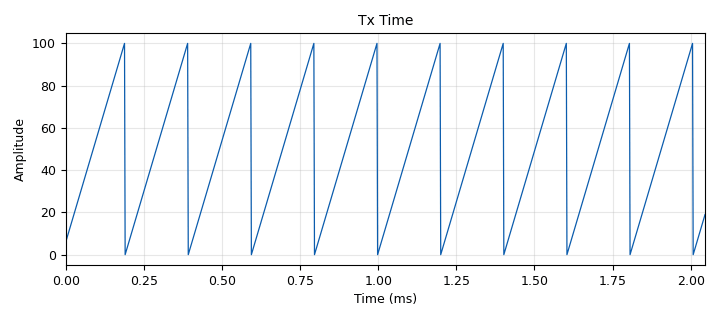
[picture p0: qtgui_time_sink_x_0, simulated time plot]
<?xml version='1.0' encoding='utf-8'?>
<?grc format='1' created='3.7.10'?>
<flow_graph>
<block>
<key>options</key>
<param><key>id</key><value>ofdm_files_tx</value></param>
<param><key>author</key><value>Samuel Rey</value></param>
<param><key>category</key><value>Custom</value></param>
<param><key>description</key><value>Simple file transmisor using OFDM</value></param>
<param><key>generate_options</key><value>qt_gui</value></param>
<param><key>title</key><value>Files Transmisor With OFDM</value></param>
</block>
<block>
<key>variable</key>
<param><key>id</key><value>cp_len</value></param>
<param><key>value</key><value>fft_len/4</value></param>
</block>
<block>
<key>variable</key>
<param><key>id</key><value>fft_len</value></param>
<param><key>value</key><value>512</value></param>
</block>
<block>
<key>variable</key>
<param><key>id</key><value>freq</value></param>
<param><key>value</key><value>2412000000</value></param>
</block>
<block>
<key>variable_qtgui_range</key>
<param><key>id</key><value>gain</value></param>
<param><key>value</key><value>50</value></param>
<param><key>label</key><value>Gain</value></param>
<param><key>orient</key><value>Qt.Horizontal</value></param>
<param><key>start</key><value>0</value></param>
<param><key>step</key><value>1</value></param>
<param><key>stop</key><value>100</value></param>
</block>
<block>
<key>variable</key>
<param><key>id</key><value>occupied_carriers</value></param>
<param><key>value</key><value>(range(-26, -21) + range(-20, -7) + range(-6, 0) + range(1, 7) + range(8, 21) + range(22, 27),)</value></param>
</block>
<block>
<key>variable</key>
<param><key>id</key><value>pilot_carriers</value></param>
<param><key>value</key><value>((-21, -7, 7, 21,),)</value></param>
</block>
<block>
<key>variable</key>
<param><key>id</key><value>pilot_symbols</value></param>
<param><key>value</key><value>((1, 1, 1, -1,),)</value></param>
</block>
<block>
<key>variable</key>
<param><key>id</key><value>samp_rate</value></param>
<param><key>value</key><value>500000</value></param>
</block>
<block>
<key>variable</key>
<param><key>id</key><value>sync_word1</value></param>
<param><key>value</key><value>[0., 0., 0., 0., 0., 0., 0., 1.41421356, 0., -1.41421356, 0., 1.41421356, 0., -1.41421356, 0., -1.41421356, 0., -1.41421356, 0., 1.41421356, 0., -1.41421356, 0., 1.41421356, 0., -1.41421356, 0., -1.41421356, 0., -1.41421356, 0., -1.41421356, 0., 1.41421356, 0., -1.41421356, 0., 1.41421356, 0., 1.41421356, 0., 1.41421356, 0., -1.41421356, 0., 1.41421356, 0., 1.41421356, 0., 1.41421356, 0., -1.41421356, 0., 1.41421356, 0., 1.41421356, 0., 1.41421356, 0., 0., 0., 0., 0., 0.]</value></param>
</block>
<block>
<key>variable</key>
<param><key>id</key><value>sync_word2</value></param>
<param><key>value</key><value>[0, 0, 0, 0, 0, 0, -1, -1, -1, -1, 1, 1, -1, -1, -1, 1, -1, 1, 1, 1, 1, 1, -1, -1, -1, -1, -1, 1, -1, -1, 1, -1, 0, 1, -1, 1, 1, 1, -1, 1, 1, 1, -1, 1, 1, 1, 1, -1, 1, -1, -1, -1, 1, -1, 1, -1, -1, -1, -1, 0, 0, 0, 0, 0] </value></param>
</block>
<block>
<key>blocks_vector_source_x</key>
<param><key>id</key><value>blocks_vector_source_x_0</value></param>
<param><key>type</key><value>float</value></param>
<param><key>repeat</key><value>True</value></param>
<param><key>vector</key><value>range(101)</value></param>
</block>
<block>
<key>digital_ofdm_mod</key>
<param><key>id</key><value>digital_ofdm_mod_0</value></param>
<param><key>cp_length</key><value>cp_len</value></param>
<param><key>fft_length</key><value>fft_len</value></param>
<param><key>type</key><value>float</value></param>
<param><key>modulation</key><value>bpsk</value></param>
<param><key>occupied_tones</key><value>200</value></param>
<param><key>pad_for_usrp</key><value>False</value></param>
<param><key>payload_length</key><value>0</value></param>
</block>
<block>
<key>qtgui_freq_sink_x</key>
<param><key>id</key><value>qtgui_freq_sink_x_0</value></param>
<param><key>bw</key><value>samp_rate</value></param>
<param><key>fc</key><value>0</value></param>
<param><key>fftsize</key><value>1024</value></param>
<param><key>name</key><value>"Tx Freq"</value></param>
<param><key>showports</key><value>True</value></param>
<param><key>type</key><value>complex</value></param>
<param><key>wintype</key><value>firdes.WIN_BLACKMAN_hARRIS</value></param>
</block>
<block>
<key>qtgui_time_sink_x</key>
<param><key>id</key><value>qtgui_time_sink_x_0</value></param>
<param><key>autoscale</key><value>True</value></param>
<param><key>color1</key><value>"blue"</value></param>
<param><key>label1</key><value></value></param>
<param><key>name</key><value>"Tx Time"</value></param>
<param><key>size</key><value>1024</value></param>
<param><key>srate</key><value>samp_rate</value></param>
<param><key>type</key><value>float</value></param>
</block>
<block>
<key>uhd_usrp_sink</key>
<param><key>id</key><value>uhd_usrp_sink_0</value></param>
<param><key>ant0</key><value>TX/RX</value></param>
<param><key>bw0</key><value>samp_rate</value></param>
<param><key>center_freq0</key><value>freq</value></param>
<param><key>norm_gain0</key><value>False</value></param>
<param><key>gain0</key><value>gain</value></param>
<param><key>clock_rate</key><value>0.0</value></param>
<param><key>dev_args</key><value>""</value></param>
<param><key>type</key><value>fc32</value></param>
<param><key>samp_rate</key><value>samp_rate</value></param>
<param><key>hide_cmd_port</key><value>False</value></param>
<param><key>hide_lo_controls</key><value>True</value></param>
<param><key>sync</key><value></value></param>
<param><key>len_tag_name</key><value></value></param>
</block>
<connection><source_block_id>blocks_vector_source_x_0</source_block_id><sink_block_id>digital_ofdm_mod_0</sink_block_id><source_key>0</source_key><sink_key>0</sink_key></connection>
<connection><source_block_id>blocks_vector_source_x_0</source_block_id><sink_block_id>qtgui_time_sink_x_0</sink_block_id><source_key>0</source_key><sink_key>0</sink_key></connection>
<connection><source_block_id>digital_ofdm_mod_0</source_block_id><sink_block_id>qtgui_freq_sink_x_0</sink_block_id><source_key>0</source_key><sink_key>0</sink_key></connection>
<connection><source_block_id>digital_ofdm_mod_0</source_block_id><sink_block_id>uhd_usrp_sink_0</sink_block_id><source_key>0</source_key><sink_key>0</sink_key></connection>
</flow_graph>
